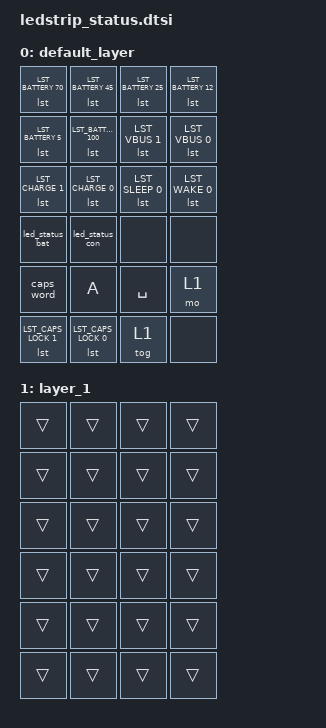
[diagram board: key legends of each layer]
/*
 * Shared setup for the native_sim tests: a fake 3-LED strip that logs frames,
 * a fake fuel gauge, emulated GPIOs for the supply switch, charger and VBUS,
 * and a 4x4 mock matrix whose keys drive them.
 */

#include <behaviors.dtsi>
#include <behaviors/ledstrip_status.dtsi>
#include <dt-bindings/zmk/kscan_mock.h>
#include <dt-bindings/zmk/ledstrip_status_test.h>

/ {
    chosen {
        zmk,battery = &test_battery;
    };

    test_battery: test_battery {
        compatible = "zmk,ledstrip-status-test-battery";
    };

    test_strip: test_strip {
        compatible = "zmk,ledstrip-status-test-strip";
        chain-length = <3>;
        supply-gpios = <&gpio0 0 GPIO_ACTIVE_LOW>;
    };

    /* the same pin wiring as the Forager */
    status_leds: status_leds {
        compatible = "zmk,ledstrip-status";
        led-strip = <&test_strip>;
        enable-gpios = <&gpio0 0 GPIO_ACTIVE_LOW>;
        charge-gpios = <&gpio0 1 (GPIO_ACTIVE_LOW | GPIO_PULL_UP)>;
        vbus-gpios = <&gpio0 2 GPIO_ACTIVE_HIGH>;
    };

    behaviors {
        lst: lst {
            compatible = "zmk,behavior-ledstrip-status-test";
            #binding-cells = <2>;
            vbus-gpios = <&gpio0 2 GPIO_ACTIVE_HIGH>;
            charge-gpios = <&gpio0 1 GPIO_ACTIVE_LOW>;
        };
    };

    keymap {
        compatible = "zmk,keymap";

        default_layer {
            bindings = <
                &lst LST_BATTERY 70  &lst LST_BATTERY 45   &lst LST_BATTERY 25  &lst LST_BATTERY 12
                &lst LST_BATTERY 5   &lst LST_BATTERY 100  &lst LST_VBUS 1      &lst LST_VBUS 0
                &lst LST_CHARGE 1    &lst LST_CHARGE 0     &lst LST_SLEEP 0     &lst LST_WAKE 0
                &led_status_bat      &led_status_con       &none                &none
                &caps_word           &kp A                 &kp SPACE            &mo 1
                &lst LST_CAPS_LOCK 1 &lst LST_CAPS_LOCK 0  &tog 1               &none
            >;
        };

        layer_1 {
            bindings = <
                &trans &trans &trans &trans
                &trans &trans &trans &trans
                &trans &trans &trans &trans
                &trans &trans &trans &trans
                &trans &trans &trans &trans
                &trans &trans &trans &trans
            >;
        };
    };
};

&kscan {
    rows = <6>;
    columns = <4>;
};

/* key positions, for the test scripts */
#define BAT_70 0, 0
#define BAT_45 0, 1
#define BAT_25 0, 2
#define BAT_12 0, 3
#define BAT_5 1, 0
#define BAT_100 1, 1
#define VBUS_ON 1, 2
#define VBUS_OFF 1, 3
#define CHG_ON 2, 0
#define CHG_OFF 2, 1
#define SLEEP 2, 2
#define WAKE 2, 3
#define SHOW_BAT 3, 0
#define SHOW_CON 3, 1
#define NOP 3, 3
#define CAPS_WORD 4, 0
#define KEY_A 4, 1
#define KEY_SPACE 4, 2
#define LAYER_1 4, 3
#define CAPS_ON 5, 0
#define CAPS_OFF 5, 1
#define TOGGLE_1 5, 2

/* hold a key for `ms` (+10 ms), e.g. a momentary layer */
#define HOLD(key, ms) ZMK_MOCK_PRESS(key, ms) ZMK_MOCK_RELEASE(key, 10)

/*
 * Tap a key, then wait `ms` (+20 ms for the tap itself). The mock waits
 * after each event, and also before the first one, so scripts start with
 * TAP(NOP, ...) to place the first real tap: TAP(NOP, 4480) puts it at 4.5 s.
 */
#define TAP(key, ms) ZMK_MOCK_PRESS(key, 10) ZMK_MOCK_RELEASE(key, ms)
